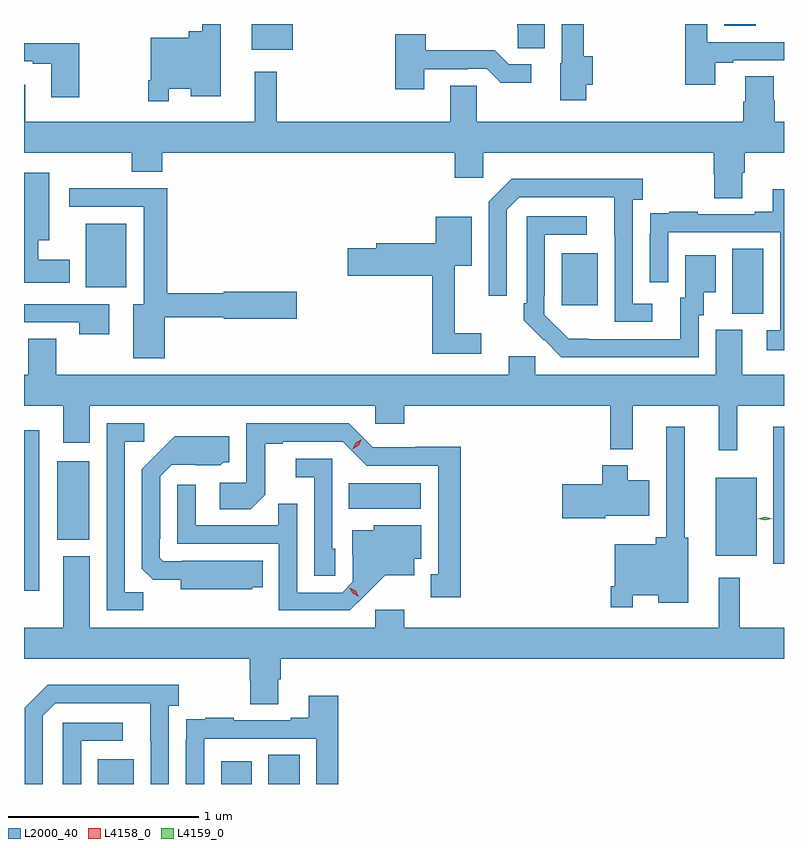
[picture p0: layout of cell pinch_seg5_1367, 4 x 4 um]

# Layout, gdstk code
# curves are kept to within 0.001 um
import gdstk
lib = gdstk.Library(unit=1e-6, precision=1e-09)
def R(c, l, rs):  # rectangles x0, y0, x1, y1
    for r in rs: c.add(gdstk.rectangle(r[:2], r[2:], *l))
def P(c, l, *ps):  # polygons
    for p in ps: c.add(gdstk.Polygon(p, *l))
L2000_40 = (2000, 40)
L4158_0 = (4158, 0)
L4159_0 = (4159, 0)

pinch_seg5_1367 = lib.new_cell('pinch_seg5_1367')
R(pinch_seg5_1367, L2000_40, [(130.943,905.386,131.131,905.515), (131.591,905.386,131.752,905.506), (131.84,905.386,132.004,905.54), (130.554,906.402,130.635,907.249), (134.498,906.545,134.554,907.266), (134.195,906.587,134.41,906.997), (130.73,906.671,130.897,907.084), (132.262,906.836,132.643,906.97), (134.282,907.861,134.446,908.204), (133.385,907.905,133.573,908.179), (130.88,908,131.092,908.335), (131.753,909.251,131.968,909.386), (134.24,909.376,134.404,909.386)])
P(pinch_seg5_1367, L2000_40, [(133.512,909.066),(133.547,909.066),(133.547,909.215),(133.499,909.215),(133.499,909.386),(133.383,909.386),(133.383,909.18),(133.376,909.18),(133.376,908.984),(133.512,908.984)],
  [(133.294,909.386),(133.151,909.386),(133.151,909.37),(133.152,909.37),(133.152,909.259),(133.294,909.259)],
  [(131.316,909.044),(131.432,909.044),(131.432,909.005),(131.59,909.005),(131.59,909.386),(131.493,909.386),(131.493,909.349),(131.42,909.349),(131.42,909.313),(131.22,909.313),(131.22,909.091),(131.208,909.091),(131.208,908.979),(131.316,908.979)],
  [(134.191,909.183),(134.287,909.183),(134.287,909.195),(134.554,909.195),(134.554,909.291),(134.151,909.291),(134.151,909.386),(134.035,909.386),(134.035,909.066),(134.191,909.066)],
  [(132.661,909.147),(132.89,909.147),(132.89,909.15),(132.99,909.15),(133.063,909.077),(133.225,909.077),(133.225,909.174),(133.104,909.174),(133.031,909.247),(132.669,909.247),(132.669,909.331),(132.509,909.331),(132.509,909.042),(132.661,909.042)],
  [(130.845,909.286),(130.554,909.286),(130.554,909.189),(130.601,909.189),(130.601,909.177),(130.697,909.177),(130.697,909),(130.845,909)],
  [(134.335,908.602),(134.348,908.602),(134.348,908.708),(134.554,908.708),(134.554,908.872),(134.504,908.872),(134.504,908.985),(134.499,908.985),(134.499,909.11),(134.351,909.11),(134.351,908.978),(134.339,908.978),(134.339,908.872),(132.936,908.872),(132.936,909.062),(132.797,909.062),(132.797,908.872),(131.885,908.872),(131.885,909.136),(131.768,909.136),(131.768,908.872),(130.561,908.872),(130.561,909.067),(130.554,909.067),(130.554,908.708),(131.122,908.708),(131.122,908.609),(131.282,908.609),(131.282,908.708),(132.821,908.708),(132.821,908.577),(132.972,908.577),(132.972,908.708),(134.183,908.708),(134.183,908.595),(134.188,908.595),(134.188,908.47),(134.335,908.47)],
  [(130.795,908.146),(130.63,908.146),(130.63,908.249),(130.687,908.249),(130.687,908.602),(130.554,908.602),(130.554,908.024),(130.795,908.024)],
  [(133.861,907.914),(133.758,907.914),(133.758,908.462),(133.81,908.462),(133.81,908.572),(133.12,908.572),(132.999,908.451),(132.999,907.956),(133.095,907.956),(133.095,908.409),(133.161,908.475),(133.661,908.475),(133.662,907.818),(133.861,907.818)],
  [(131.296,907.842),(131.604,907.842),(131.604,907.834),(131.989,907.834),(131.989,907.976),(131.604,907.976),(131.604,907.97),(131.309,907.97),(131.309,908.522),(130.791,908.522),(130.791,908.424),(131.183,908.424),(131.183,907.912),(131.129,907.912),(131.129,907.626),(131.296,907.626)],
  [(134.554,908.515),(134.495,908.515),(134.495,908.398),(134.399,908.398),(134.399,908.385),(134.099,908.385),(134.099,908.398),(133.951,908.398),(133.951,908.391),(133.849,908.391),(133.849,908.282),(133.848,908.282),(133.848,908.028),(133.944,908.028),(133.944,908.289),(134.535,908.289),(134.535,907.773),(134.463,907.773),(134.463,907.668),(134.554,907.668)],
  [(134.106,907.854),(134.131,907.854),(134.131,907.973),(134.194,907.973),(134.194,908.17),(134.033,908.17),(134.033,907.944),(134.009,907.944),(134.009,907.728),(133.422,907.729),(133.293,907.857),(133.293,907.957),(133.296,907.957),(133.296,908.277),(133.516,908.277),(133.516,908.373),(133.2,908.373),(133.2,907.915),(133.185,907.915),(133.185,907.827),(133.382,907.632),(134.106,907.632)],
  [(132.961,907.759),(132.821,907.759),(132.821,908.114),(132.91,908.114),(132.91,908.371),(132.722,908.371),(132.722,908.232),(132.407,908.232),(132.407,908.207),(132.258,908.207),(132.258,908.06),(132.703,908.06),(132.703,907.65),(132.961,907.65)],
  [(131.002,907.911),(130.554,907.911),(130.554,907.815),(130.846,907.815),(130.846,907.752),(131.002,907.752)],
  [(134.309,907.376),(134.554,907.376),(134.554,907.54),(134.335,907.54),(134.335,907.776),(134.195,907.776),(134.195,907.54),(133.245,907.54),(133.245,907.638),(133.106,907.638),(133.106,907.54),(130.725,907.54),(130.725,907.73),(130.577,907.73),(130.577,907.54),(130.554,907.54),(130.554,907.376),(130.76,907.376),(130.76,907.182),(130.9,907.182),(130.9,907.376),(132.402,907.376),(132.402,907.283),(132.554,907.283),(132.554,907.376),(133.639,907.376),(133.639,907.148),(133.757,907.148),(133.757,907.376),(134.21,907.376),(134.21,907.143),(134.309,907.143)],
  [(131.181,906.395),(131.085,906.395),(131.085,907.188),(131.188,907.188),(131.188,907.284),(130.989,907.284),(130.989,906.3),(131.181,906.3)],
  [(132.853,907.16),(132.612,907.16),(132.612,907.158),(132.39,907.158),(132.264,907.284),(131.724,907.284),(131.724,906.972),(131.583,906.972),(131.583,906.832),(131.747,906.832),(131.823,906.908),(131.823,907.176),(131.917,907.176),(131.917,907.188),(132.231,907.188),(132.357,907.062),(132.734,907.062),(132.734,906.489),(132.695,906.489),(132.695,906.369),(132.853,906.369)],
  [(133.759,906.38),(133.892,906.38),(133.892,906.341),(134.05,906.341),(134.05,906.681),(134.032,906.681),(134.032,907.267),(133.935,907.267),(133.935,906.685),(133.88,906.685),(133.88,906.649),(133.662,906.649),(133.662,906.427),(133.642,906.427),(133.642,906.315),(133.759,906.315)],
  [(131.754,906.422),(131.81,906.422),(131.81,906.562),(131.386,906.562),(131.386,906.558),(131.286,906.558),(131.268,906.576),(131.268,906.676),(131.271,906.676),(131.271,907.005),(131.331,907.065),(131.588,907.064),(131.604,907.08),(131.635,907.08),(131.635,907.216),(131.347,907.216),(131.175,907.042),(131.175,906.52),(131.234,906.461),(131.378,906.461),(131.378,906.41),(131.754,906.41)],
  [(132.192,906.624),(132.177,906.624),(132.177,907.098),(131.985,907.098),(131.985,907.001),(132.081,907.001),(132.081,906.481),(132.192,906.481)],
  [(133.614,906.797),(133.846,906.797),(133.846,906.985),(133.732,906.985),(133.732,907.063),(133.598,907.063),(133.598,906.963),(133.386,906.963),(133.386,906.785),(133.614,906.785)],
  [(132.352,906.383),(132.455,906.485),(132.607,906.485),(132.607,906.572),(132.646,906.572),(132.646,906.748),(132.396,906.748),(132.396,906.721),(132.281,906.721),(132.281,906.592),(132.285,906.592),(132.285,906.45),(132.228,906.393),(131.991,906.393),(131.991,906.86),(131.893,906.86),(131.893,906.747),(131.457,906.747),(131.457,906.961),(131.361,906.961),(131.361,906.651),(131.895,906.651),(131.895,906.3),(132.268,906.3)],
  [(131.893,905.938),(131.906,905.938),(131.906,906.044),(134.554,906.044),(134.554,906.208),(134.32,906.208),(134.32,906.472),(134.21,906.472),(134.21,906.208),(132.554,906.208),(132.554,906.304),(132.402,906.304),(132.402,906.208),(130.9,906.208),(130.9,906.586),(130.76,906.586),(130.76,906.208),(130.554,906.208),(130.554,906.044),(131.741,906.044),(131.741,905.931),(131.746,905.931),(131.746,905.806),(131.893,905.806)],
  [(130.653,905.745),(130.719,905.811),(131.219,905.811),(131.22,905.386),(131.316,905.386),(131.316,905.798),(131.368,905.798),(131.368,905.908),(130.678,905.908),(130.557,905.787),(130.557,905.386),(130.653,905.386)],
  [(131.502,905.625),(132.093,905.625),(132.093,905.386),(132.209,905.386),(132.209,905.851),(132.053,905.851),(132.053,905.734),(131.957,905.734),(131.957,905.721),(131.657,905.721),(131.657,905.734),(131.509,905.734),(131.509,905.727),(131.407,905.727),(131.407,905.618),(131.406,905.618),(131.406,905.386),(131.502,905.386)],
  [(130.854,905.613),(131.074,905.613),(131.074,905.709),(130.758,905.709),(130.758,905.386),(130.854,905.386)])
P(pinch_seg5_1367, L4158_0, [(132.283,907.149),(132.283,907.15),(132.3,907.182),(132.332,907.201),(132.332,907.201),(132.332,907.201),(132.315,907.168),(132.283,907.149)],
  [(132.317,906.372),(132.286,906.388),(132.269,906.417),(132.269,906.418),(132.269,906.418),(132.3,906.402),(132.317,906.372),(132.317,906.372)])
P(pinch_seg5_1367, L4159_0, [(134.454,906.773),(134.416,906.782),(134.416,906.783),(134.416,906.783),(134.454,906.793),(134.493,906.783),(134.493,906.783),(134.493,906.782)])

lib.write_gds('pinch_seg5_1367.gds')
